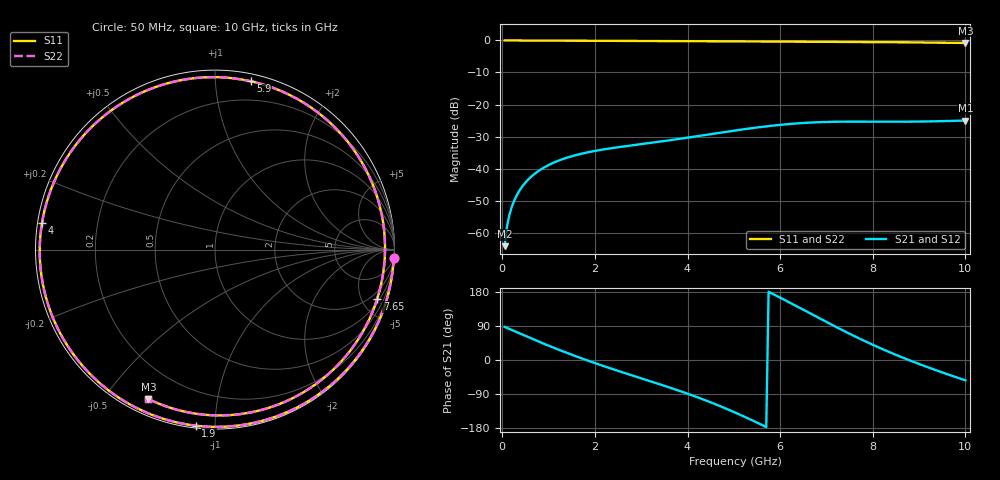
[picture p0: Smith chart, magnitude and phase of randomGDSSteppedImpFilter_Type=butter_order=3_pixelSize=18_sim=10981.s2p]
! freq	dB(S11)	phase(S11)	dB(S12)	phase(S12)
!  dB(S21)	phase(S21)	dB(S22)	phase(S22)
!S-par simulation data
#  GHz  S  DB  R 50
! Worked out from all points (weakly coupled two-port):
!   200 points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, 50 MHz to 10 GHz, reference 50 ohm
!   highest |S21| = -24.99 dB at 10 GHz (marker M1); lowest = -64.2 dB at 50 MHz (marker M2)
!   lowest |S11| = -0.8 dB at 10 GHz (marker M3), VSWR 21.53, Z = 3.3 - j32.4 ohm
!   |S11| at or under -10 dB: nowhere
!   |S22| runs from -0.8 to 0.0 dB; largest |S21 - S12| = 0
!   S11 on the Smith chart (normalised r, x): 50 MHz: 3, -42; 1.9 GHz: 0.01, -0.90; 4 GHz: 0.01, +0.08; 5.9 GHz: 0.05, +1.23; 7.65 GHz: 1.28, -6.50; 10 GHz: 0.07, -0.65
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0.05  -0.03 -2.7  -64.18 87.4  -64.18 87.4  -0.02 -2.8
0.1  -0.03 -5.4  -58.16 84.8  -58.16 84.8  -0.03 -5.4
0.2  -0.03 -10.7  -52.15 79.4  -52.15 79.4  -0.03 -10.7
0.35  -0.04 -18.7  -47.34 71.4  -47.34 71.4  -0.04 -18.7
0.5  -0.04 -26.6  -44.33 63.5  -44.33 63.5  -0.04 -26.6
1.15  -0.07 -60.0  -37.87 30.4  -37.87 30.4  -0.07 -60.0
1.75  -0.11 -89.2  -35.21 2.7  -35.21 2.7  -0.11 -89.2
1.9  -0.11 -96.2  -34.75 -3.9  -34.75 -3.9  -0.11 -96.2
2.6  -0.15 -127.8  -33.12 -32.7  -33.12 -32.7  -0.15 -127.8
3.4  -0.18 -162.6  -31.58 -64.1  -31.58 -64.1  -0.18 -162.6
4  -0.22 171.2  -30.34 -88.9  -30.34 -88.9  -0.22 171.2
4.5  -0.25 148.5  -29.24 -111.8  -29.24 -111.8  -0.25 148.5
5.05  -0.30 122.1  -28.05 -139.8  -28.05 -139.8  -0.30 122.1
5.5  -0.33 99.3  -27.17 -165.1  -27.17 -165.1  -0.33 99.2
5.9  -0.36 78.0  -26.49 170.8  -26.49 170.8  -0.36 77.9
6.3  -0.40 56.1  -25.96 145.5  -25.96 145.5  -0.40 55.9
6.7  -0.42 33.9  -25.60 119.6  -25.60 119.6  -0.42 33.7
7.15  -0.46 9.3  -25.39 90.8  -25.39 90.8  -0.46 9.1
7.65  -0.49 -16.9  -25.33 60.2  -25.33 60.2  -0.50 -17.1
8.35  -0.56 -50.2  -25.37 21.3  -25.37 21.3  -0.56 -50.4
9.1  -0.66 -81.5  -25.30 -15.1  -25.30 -15.1  -0.66 -81.7
10  -0.81 -114.0  -24.99 -53.6  -24.99 -53.6  -0.81 -114.2
